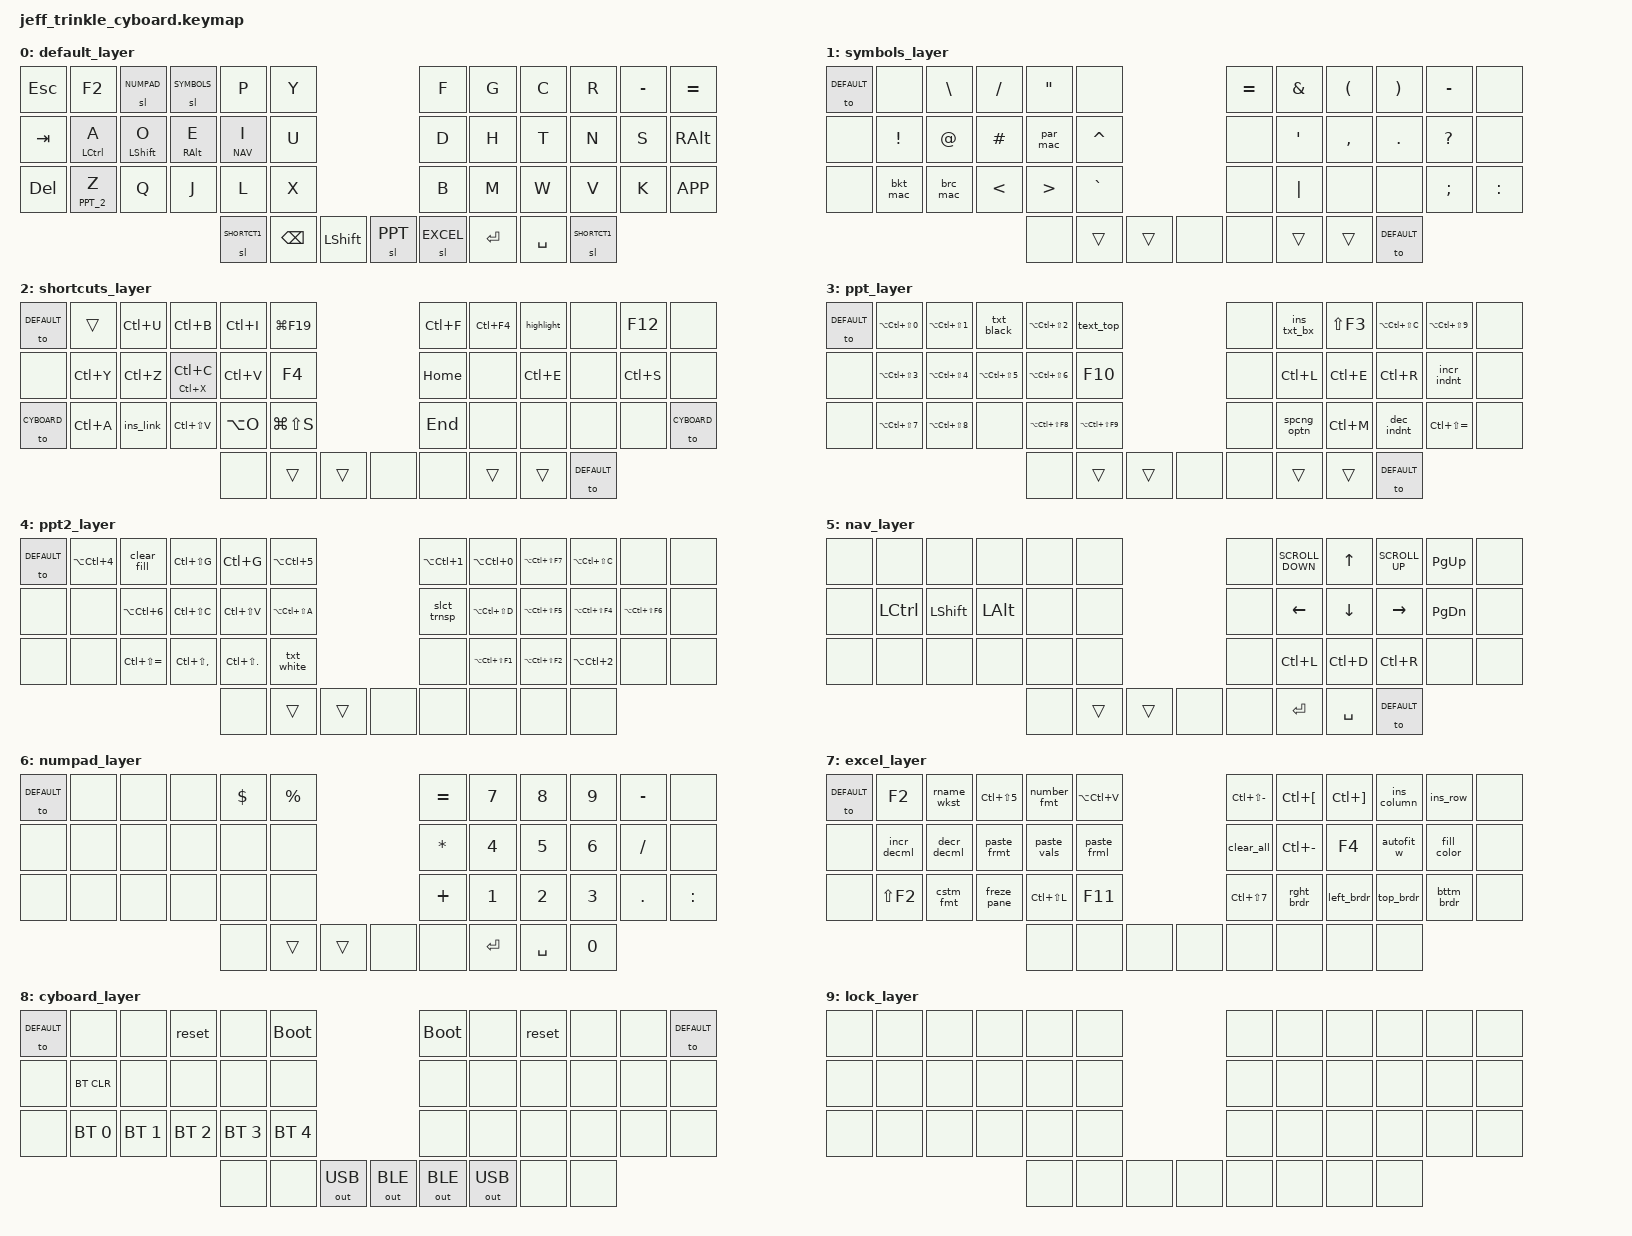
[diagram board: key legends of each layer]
/*
 * Copyright (c) 2020 The ZMK Contributors
 *
 * SPDX-License-Identifier: MIT
 */

#include <behaviors.dtsi>
#include <dt-bindings/zmk/keys.h>
#include <dt-bindings/zmk/bt.h>
#include <dt-bindings/zmk/outputs.h>

#define DEFAULT 0
#define SYMBOLS 1
#define SHORTCT1 2
#define PPT 3
#define PPT_2 4
#define NAV 5
#define NUMPAD 6
#define EXCEL 7
#define CYBOARD 8
#define LOCK 9

/ {

// key-positions
// 0  1  2  3  4  5  -  -  |  -  -  6  7  8  9  10 11
// 12 13 14 15 16 17 -  -  |  -  -  18 19 20 21 22 23
// 24 25 26 27 28 29 -  -  |  -  -  30 31 32 33 34 35
// -  -  -  -  36 37 38 39 |  40 41 42 43

        combos {
                compatible = "zmk,combos";
                combo_toggle_lock_left {
                          timeout-ms = <50>;
                          key-positions = <0 5 39>;
                          bindings = <&tog LOCK>;
                };
                combo_toggle_lock_right {
                          timeout-ms = <50>;
                          key-positions = <6 11 40>;
                          bindings = <&tog LOCK>;
                };
        };

        behaviors {

                //symbols layer macros
                bkt_mac: bkt_mac {
			                    compatible = "zmk,behavior-macro";
			                    label = "BKT_MAC";
			                    #binding-cells = <0>;
			                    bindings = <&kp LBKT>, <&kp RBKT>, <&kp LEFT>;
		            };
		            brc_mac: brc_mac {
			                    compatible = "zmk,behavior-macro";
			                    label = "BRC_MAC";
			                    #binding-cells = <0>;
			                    bindings = <&kp LBRC>, <&kp RBRC>, <&kp LEFT>;
		            };
		            par_mac: par_mac {
			                    compatible = "zmk,behavior-macro";
			                    label = "PAR_MAC";
			                    #binding-cells = <0>;
			                    bindings = <&kp LPAR>, <&kp RPAR>, <&kp LEFT>;
		            };

		            //shortcuts layer macros
		            ins_link: ins_link {
			                    compatible = "zmk,behavior-macro";
			                    label = "INS_LINK";
			                    #binding-cells = <0>;
			                    bindings = <&kp LC(K)>, <&kp LC(V)>, <&kp RET>;
		            };
		            highlight: highlight {
			                    compatible = "zmk,behavior-macro";
			                    label = "HIGHLIGHT";
			                    #binding-cells = <0>;
			                    bindings = <&kp RALT>, <&kp H>, <&kp T>, <&kp C>, <&kp RET>;
		            };

		            //ppt layer macros
                txt_black: txt_black {
			                    compatible = "zmk,behavior-macro";
			                    label = "TXT_BLACK";
			                    #binding-cells = <0>;
			                    bindings = <&kp LA(H)>, <&kp F>, <&kp C>, <&kp RIGHT>, <&kp RET>;
		            };
		            text_top: text_top {
			                    compatible = "zmk,behavior-macro";
			                    label = "TEXT_TOP";
			                    #binding-cells = <0>;
			                    bindings = <&kp RALT>, <&kp H>, <&kp A>, <&kp T>, <&kp T>;
		            };
		            ins_txt_bx: ins_txt_bx {
			                    compatible = "zmk,behavior-macro";
			                    label = "INS_TXT_BX";
			                    #binding-cells = <0>;
			                    bindings = <&kp LA(N)>, <&kp X>;
		            };
		            incr_indnt: incr_indnt {
			                    compatible = "zmk,behavior-macro";
			                    label = "INCR_INDNT";
			                    #binding-cells = <0>;
			                    bindings = <&kp RALT>, <&kp H>, <&kp A>, <&kp I>;
		            };
		            spcng_optn: spcng_optn {
			                    compatible = "zmk,behavior-macro";
			                    label = "SPCNG_OPTN";
			                    #binding-cells = <0>;
			                    bindings = <&kp RALT>, <&kp H>, <&kp K>, <&kp L>;
		            };
		            dec_indnt: dec_indnt {
			                    compatible = "zmk,behavior-macro";
			                    label = "DEC_INDNT";
			                    #binding-cells = <0>;
			                    bindings = <&kp RALT>, <&kp H>, <&kp A>, <&kp O>;
		            };

		            //ppt_2 layer macros
		            clear_fill: clear_fill {
			                    compatible = "zmk,behavior-macro";
			                    label = "CLEAR_FILL";
			                    #binding-cells = <0>;
			                    bindings = <&kp RALT>, <&kp H>, <&kp S>, <&kp F>, <&kp N>;
		            };
		            txt_white: txt_white {
			                    compatible = "zmk,behavior-macro";
			                    label = "TXT_WHITE";
			                    #binding-cells = <0>;
			                    bindings = <&kp LA(H)>, <&kp F>, <&kp C>, <&kp RET>;
		            };
		            slct_trnsp: slct_trnsp {
			                    compatible = "zmk,behavior-macro";
			                    label = "SLCT_TRNSP";
			                    #binding-cells = <0>;
			                    bindings = <&kp LA(J)>, <&kp P>, <&kp I>, <&kp S>;
		            };

		            //excel layer macros
		            rname_wkst: rname_wkst {
			                    compatible = "zmk,behavior-macro";
			                    label = "RNAME_WKST";
			                    #binding-cells = <0>;
			                    bindings = <&kp RALT>, <&kp O>, <&kp H>, <&kp R>;
		            };
		            number_fmt: number_fmt {
			                    compatible = "zmk,behavior-macro";
			                    label = "NUMBER_FMT";
			                    #binding-cells = <0>;
			                    bindings = <&kp RALT>, <&kp H>, <&kp K>, <&kp LA(H)>, <&kp 9>;
		            };
		            incr_decml: incr_decml {
			                    compatible = "zmk,behavior-macro";
			                    label = "INCR_DECML";
			                    #binding-cells = <0>;
			                    bindings = <&kp RALT>, <&kp H>, <&kp O>;
		            };
		            decr_decml: decr_decml {
			                    compatible = "zmk,behavior-macro";
			                    label = "DECR_DECML";
			                    #binding-cells = <0>;
			                    bindings = <&kp RALT>, <&kp H>, <&kp 9>;
		            };
		            paste_frmt: paste_frmt {
			                    compatible = "zmk,behavior-macro";
			                    label = "PASTE_FRMT";
			                    #binding-cells = <0>;
			                    bindings = <&kp LA(LC(V))>, <&kp T>;
		            };
		            paste_vals: paste_vals {
			                    compatible = "zmk,behavior-macro";
			                    label = "PASTE_VALS";
			                    #binding-cells = <0>;
			                    bindings = <&kp LA(LC(V))>, <&kp V>;
		            };
		            paste_frml: paste_frml {
			                    compatible = "zmk,behavior-macro";
			                    label = "PASTE_FRML";
			                    #binding-cells = <0>;
			                    bindings = <&kp LA(LC(V))>, <&kp F>;
		            };
		            cstm_fmt: cstm_fmt {
			                    compatible = "zmk,behavior-macro";
			                    label = "CSTM_FMT";
			                    #binding-cells = <0>;
			                    bindings = <&kp RALT>, <&kp H>, <&kp J>;
		            };
                freze_pane: freze_pane {
			                    compatible = "zmk,behavior-macro";
			                    label = "FREZE_PANE";
			                    #binding-cells = <0>;
			                    bindings = <&kp RALT>, <&kp W>, <&kp F>, <&kp F>;
		            };
                ins_column: ins_column {
			                    compatible = "zmk,behavior-macro";
			                    label = "INS_COLUMN";
			                    #binding-cells = <0>;
			                    bindings = <&kp RALT>, <&kp I>, <&kp C>;
		            };
                ins_row: ins_row {
			                    compatible = "zmk,behavior-macro";
			                    label = "INS_ROW";
			                    #binding-cells = <0>;
			                    bindings = <&kp RALT>, <&kp I>, <&kp R>;
		            };
                clear_all: clear_all {
			                    compatible = "zmk,behavior-macro";
			                    label = "CLEAR_ALL";
			                    #binding-cells = <0>;
			                    bindings = <&kp LC(LS(MINUS))>, <&kp RALT>, <&kp H>, <&kp H>, <&kp RET>;
		            };
                autofit_w: autofit_w {
			                    compatible = "zmk,behavior-macro";
			                    label = "AUTOFIT_W";
			                    #binding-cells = <0>;
			                    bindings = <&kp RALT>, <&kp H>, <&kp O>, <&kp I>;
		            };
                fill_color: fill_color {
			                    compatible = "zmk,behavior-macro";
			                    label = "FILL_COLOR";
			                    #binding-cells = <0>;
			                    bindings = <&kp RALT>, <&kp H>, <&kp F>, <&kp C>;
		            };
                rght_brdr: rght_brdr {
			                    compatible = "zmk,behavior-macro";
			                    label = "RGHT_BRDR";
			                    #binding-cells = <0>;
			                    bindings = <&kp RALT>, <&kp H>, <&kp B>, <&kp R>;
		            };
                left_brdr: left_brdr {
			                    compatible = "zmk,behavior-macro";
			                    label = "LEFT_BRDR";
			                    #binding-cells = <0>;
			                    bindings = <&kp RALT>, <&kp H>, <&kp B>, <&kp L>;
		            };
		            top_brdr: top_brdr {
			                    compatible = "zmk,behavior-macro";
			                    label = "TOP_BRDR";
			                    #binding-cells = <0>;
			                    bindings = <&kp RALT>, <&kp H>, <&kp B>, <&kp T>;
		            };
		            bttm_brdr: bttm_brdr {
			                    compatible = "zmk,behavior-macro";
			                    label = "BTTM_BRDR";
			                    #binding-cells = <0>;
			                    bindings = <&kp RALT>, <&kp H>, <&kp B>, <&kp O>;
		            };
        };

        keymap {
                compatible = "zmk,keymap";

                default_layer {
                        bindings = <
   &kp ESC &kp F2      &sl NUMPAD  &sl SYMBOLS &kp P        &kp Y                                           &kp F     &kp G        &kp C &kp R &kp MINUS &kp EQUAL
   &kp TAB &mt LCTRL A &mt LSHFT O &mt RALT E  &lt NAV I    &kp U                                           &kp D     &kp H        &kp T &kp N &kp S     &kp RALT
   &kp DEL &lt PPT_2 Z &kp Q       &kp J       &kp L        &kp X                                           &kp B     &kp M        &kp W &kp V &kp K     &kp K_APP
                                               &sl SHORTCT1 &kp BSPC &kp LSHFT &sl PPT    &sl EXCEL &kp RET &kp SPACE &sl SHORTCT1
                        >;
                };

                symbols_layer {
                        bindings = <
   &to DEFAULT &none    &kp BSLH &kp FSLH &kp DQT  &none                                &kp EQUAL &kp AMPS &kp LPAR  &kp RPAR &kp MINUS &none
   &none       &kp EXCL &kp AT   &kp HASH &par_mac &kp CARET                            &none     &kp SQT  &kp COMMA &kp DOT  &kp QMARK &none
   &none       &bkt_mac &brc_mac &kp LT   &kp GT   &kp GRAVE                            &none     &kp PIPE &none     &none    &kp SEMI  &kp COLON
                                          &none    &trans  &trans &none    &none &trans &trans    &to DEFAULT
                        >;
                };

                shortcuts_layer {
                        bindings = <
   &to DEFAULT  &trans    &kp LC(U) &kp LC(B)       &kp LC(I) &kp LG(F19)                                &kp LC(F) &kp LC(F4) &highlight &none &kp F12   &none
   &none        &kp LC(Y) &kp LC(Z) &mt LC(X) LC(C) &kp LC(V) &kp F4                                     &kp HOME  &none      &kp LC(E)  &none &kp LC(S) &none
   &to CYBOARD  &kp LC(A) &ins_link &kp LC(LS(V))   &kp LA(O) &kp LG(LS(S))                              &kp END   &none      &none      &none &none     &to CYBOARD
                                                   &none     &trans        &trans &none    &none &trans &trans    &to DEFAULT
                        >;
                };

                ppt_layer {
                        bindings = <
   &to DEFAULT &kp LA(LC(LS(N0))) &kp LA(LC(LS(N1))) &txt_black         &kp LA(LC(LS(N2))) &text_top                                       &none  &ins_txt_bx &kp LS(F3) &kp LA(LC(LS(C))) &kp LA(LC(LS(N9))) &none
   &none       &kp LA(LC(LS(N3))) &kp LA(LC(LS(N4))) &kp LA(LC(LS(N5))) &kp LA(LC(LS(N6))) &kp F10                                         &none  &kp LC(L)   &kp LC(E)  &kp LC(R)         &incr_indnt        &none
   &none       &kp LA(LC(LS(N7))) &kp LA(LC(LS(N8))) &none              &kp LA(LC(LS(F8))) &kp LA(LC(LS(F9)))                              &none  &spcng_optn &kp LC(M)  &dec_indnt        &kp LC(LS(EQUAL))  &none
                                                                        &none              &trans             &trans &none    &none &trans &trans &to DEFAULT
                        >;
                };

                ppt2_layer {
                        bindings = <
   &to DEFAULT &kp LA(LC(N4)) &clear_fill       &kp LC(LS(G))     &kp LC(G)       &kp LA(LC(N5))                                &kp LA(LC(N1)) &kp LA(LC(N0))     &kp LA(LC(LS(F7))) &kp LA(LC(LS(C)))  &none              &none
   &none       &none          &kp LA(LC(N6))    &kp LC(LS(C))     &kp LC(LS(V))   &kp LA(LC(LS(A)))                             &slct_trnsp    &kp LA(LC(LS(D)))  &kp LA(LC(LS(F5))) &kp LA(LC(LS(F4))) &kp LA(LC(LS(F6))) &none
   &none       &none          &kp LC(LS(EQUAL)) &kp LC(LS(COMMA)) &kp LC(LS(DOT)) &txt_white                                    &none          &kp LA(LC(LS(F1))) &kp LA(LC(LS(F2))) &kp LA(LC(N2))     &none              &none
                                                                  &none           &trans            &trans &none    &none &none &none &none
                        >;
                };

                nav_layer {
                        bindings = <
   &none &none     &none     &none    &none &none                                &none &kp K_SCROLL_DOWN &kp UP    &kp K_SCROLL_UP &kp PG_UP &none
   &none &kp LCTRL &kp LSHFT &kp LALT &none &none                                &none &kp LEFT          &kp DOWN  &kp RIGHT       &kp PG_DN &none
   &none &none     &none     &none    &none &none                                &none &kp LC(L)         &kp LC(D) &kp LC(R)       &none     &none
                                      &none &trans &trans &none    &none &kp RET &kp SPACE &to DEFAULT
                        >;
                };

                numpad_layer {
                        bindings = <
   &to DEFAULT &none &none &none &kp DLLR &kp PRCNT                               &kp EQUAL &kp N7 &kp N8 &kp N9 &kp MINUS &none
   &none       &none &none &none &none    &none                                   &kp STAR  &kp N4 &kp N5 &kp N6 &kp FSLH  &none
   &none       &none &none &none &none    &none                                   &kp PLUS  &kp N1 &kp N2 &kp N3 &kp DOT   &kp COLON
                                 &none    &trans    &trans &none    &none &kp RET &kp SPACE &kp N0
                        >;
                };

                excel_layer {
                        bindings = <
   &to DEFAULT &kp F2      &rname_wkst &kp LC(LS(N5)) &number_fmt   &kp LA(LC(V))                            &kp LC(LS(MINUS)) &kp LC(LBKT)  &kp LC(RBKT) &ins_column &ins_row    &none
   &none       &incr_decml &decr_decml &paste_frmt    &paste_vals   &paste_frml                              &clear_all        &kp LC(MINUS) &kp F4       &autofit_w  &fill_color &none
   &none       &kp LS(F2)  &cstm_fmt   &freze_pane    &kp LC(LS(L)) &kp F11                                  &kp LC(LS(N7))    &rght_brdr    &left_brdr   &top_brdr   &bttm_brdr  &none
                                                      &none         &none         &none &none    &none &none &none             &none
                        >;
                };

                cyboard_layer {
                        bindings = <
   &to DEFAULT &none        &none        &reset       &none        &bootloader                                                         &bootloader &none &reset &none &none &to DEFAULT
   &none       &bt BT_CLR   &none        &none        &none        &none                                                               &none       &none &none  &none &none &none
   &none       &bt BT_SEL 0 &bt BT_SEL 1 &bt BT_SEL 2 &bt BT_SEL 3 &bt BT_SEL 4                                                        &none       &none &none  &none &none &none 
                                                      &none        &none        &out OUT_USB &out OUT_BLE    &out OUT_BLE &out OUT_USB &none       &none
                        >;
                };

                lock_layer {
                        bindings = <
   &none &none &none &none &none &none                            &none &none &none &none &none &none
   &none &none &none &none &none &none                            &none &none &none &none &none &none
   &none &none &none &none &none &none                            &none &none &none &none &none &none
                           &none &none &none &none    &none &none &none &none
                        >;
                };
        };
};
